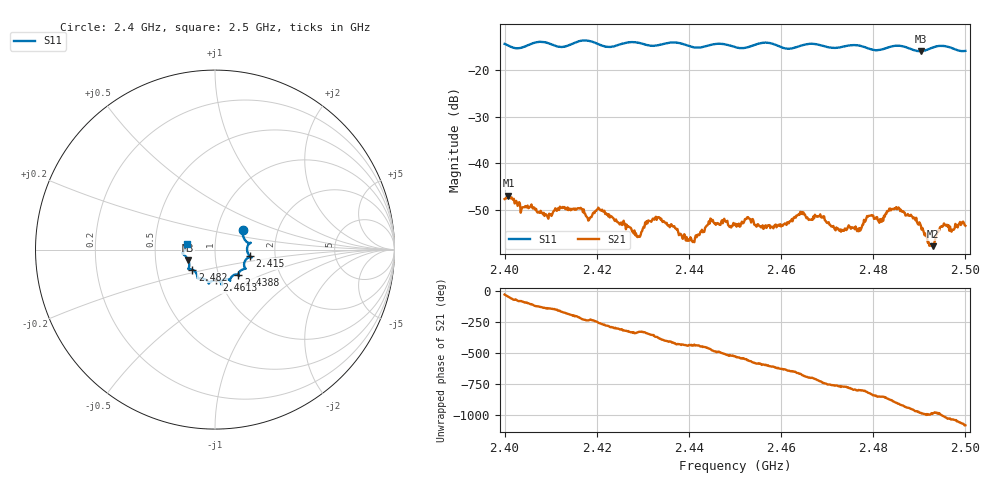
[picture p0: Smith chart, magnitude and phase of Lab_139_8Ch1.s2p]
# Hz S RI R 50
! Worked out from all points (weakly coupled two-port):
!   601 points, 2.4 GHz to 2.5 GHz, reference 50 ohm
!   highest |S21| = -47.04 dB at 2.4008 GHz (marker M1); lowest = -57.9 dB at 2.493 GHz (marker M2)
!   lowest |S11| = -15.9 dB at 2.4903 GHz (marker M3), VSWR 1.38, Z = 36.8 - j4.45 ohm
!   |S11| at or under -10 dB: start of sweep to end of sweep
!   S12 and S22 are empty: the file has one direction only
!   S11 on the Smith chart (normalised r, x): 2.4 GHz: 1.33, +0.31; 2.415 GHz: 1.47, -0.11; 2.4388 GHz: 1.24, -0.36; 2.4613 GHz: 0.96, -0.34; 2.482 GHz: 0.76, -0.17; 2.5 GHz: 0.72, +0.05
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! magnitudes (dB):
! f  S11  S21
! 2.4 GHz  -14.3  -47.7
! 2.4008 GHz  -14.7  -47.0
! 2.409 GHz  -14.0  -51.1
! 2.415 GHz  -14.1  -49.8
! 2.4167 GHz  -13.6  -49.8
! 2.4183 GHz  -13.7  -52.2
! 2.4208 GHz  -14.6  -50.2
! 2.4288 GHz  -14.0  -55.9
! 2.4333 GHz  -14.6  -51.6
! 2.4388 GHz  -14.4  -55.8
! 2.4412 GHz  -15.0  -57.0
! 2.4448 GHz  -14.5  -52.1
! 2.45 GHz  -15.0  -53.1
! 2.4613 GHz  -15.3  -52.7
! 2.4667 GHz  -14.3  -52.1
! 2.4732 GHz  -15.0  -54.3
! 2.482 GHz  -15.5  -51.9
! 2.4833 GHz  -15.0  -50.3
! 2.4903 GHz  -15.9  -53.5
! 2.493 GHz  -15.1  -57.9
! 2.495 GHz  -14.7  -53.7
! 2.5 GHz  -15.8  -53.5
